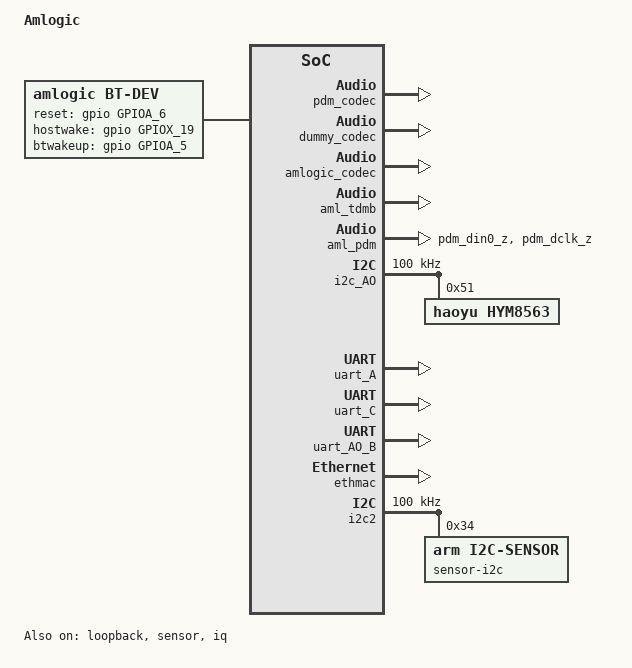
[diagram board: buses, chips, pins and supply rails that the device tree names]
#include "g12b_a311d_w400_drm_buildroot.dts"

//#include "rp-lcd-mipi-5-720-1280-v2-boxTP.dtsi"
// #include "rp-lcd-mipi-5.5-1080-1920.dtsi"
// #include "rp-lcd-mipi-5.5-720-1280.dtsi"
// #include "rp-lcd-mipi-5-720-1280.dtsi"
 #include "rp-lcd-mipi-5-720-1280-v2.dtsi"
// #include "rp-lcd-mipi-7-1024-600.dtsi"
// #include "rp-lcd-mipi-7-1200-1920.dtsi"
// #include "rp-lcd-mipi-8-800-1280.dtsi"
// #include "rp-lcd-mipi-8-800-1280-v3.dtsi"
//#include "rp-lcd-mipi-8-1200-1920-box.dtsi"
// #include "rp-lcd-mipi-10-800-1280.dtsi"
// #include "rp-lcd-mipi-10-800-1280-v3.dtsi"
// #include "rp-lcd-mipi-10-1920-1200.dtsi"
//#include "rp-hdmi-1080p.dtsi"

/ {
    model = "Amlogic";
    amlogic-dt-id = "g12b_w400_b";
    compatible = "pro-a311d";
    rp_power{
        status = "okay";
        compatible = "rp_power";

        // GPIO_FUNCTION_OUTPUT 0
        // GPIO_FUNCTION_INPUT 1
        // GPIO_FUNCTION_IRQ 2
        // GPIO_FUNCTION_FLASH 3
        // GPIO_FUNCTION_OUTPUT_CTRL 4        
        usb_pwr { //usb power
                gpio_num = <&gpio GPIOA_1 GPIO_ACTIVE_HIGH>;
                gpio_function = <4>;
        };
        hub_rst { //hub rst
                gpio_num = <&gpio GPIOA_3 GPIO_ACTIVE_HIGH>;
                gpio_function = <4>;
        };
        spk_on {	//
                gpio_num = <&gpio GPIOA_4 GPIO_ACTIVE_HIGH>;
                gpio_function = <4>;
        };
        fan_en {	//
                gpio_num = <&gpio GPIOZ_11 GPIO_ACTIVE_HIGH>;
                gpio_function = <0>;
        };
        otg_pwr { //otg host power
                gpio_num = <&gpio GPIOZ_9 GPIO_ACTIVE_HIGH>;
                gpio_function = <4>;
        };      
        otg_host {	//
                gpio_num = <&gpio GPIOZ_8 GPIO_ACTIVE_HIGH>; //1:host,0:device
                gpio_function = <4>;
        };
        run_led { // led pin control
                gpio_num = <&gpio_ao GPIOAO_10 GPIO_ACTIVE_HIGH>;
                gpio_function = <3>;
        };
	};

    rp_gpio{
        status = "okay";
        compatible = "rp_gpio";
        //gpio_function:
        //#define GPIO_FUNCTION_OUTPUT 0
        //#define GPIO_FUNCTION_INPUT 1
        //#define GPIO_FUNCTION_IRQ 2
        //#define GPIO_FUNCTION_FLASH 3
        gpioa11 {
            gpio_num = <&gpio GPIOA_11 GPIO_ACTIVE_HIGH>;
            gpio_function = <0>;            //0:output 1:input
        };
        gpioa10 {
            gpio_num = <&gpio GPIOA_10 GPIO_ACTIVE_HIGH>;
            gpio_function = <0>;            //0:output 1:input
        };
        gpioa13 {
            gpio_num = <&gpio GPIOA_13 GPIO_ACTIVE_HIGH>;
            gpio_function = <0>;            //0:output 1:input
        };
        gpioa12 {
            gpio_num = <&gpio GPIOA_12 GPIO_ACTIVE_HIGH>;
            gpio_function = <0>;            //0:output 1:input
        };
        gpioao11 {
            gpio_num = <&gpio_ao GPIOAO_11 GPIO_ACTIVE_HIGH>;
            gpio_function = <0>;            //0:output 1:input
        };
        /*
        gpioz1 {
            gpio_num = <&gpio GPIOZ_1 GPIO_ACTIVE_HIGH>;
            gpio_function = <0>;            //0:output 1:input
        };
        gpioz0 {
            gpio_num = <&gpio GPIOZ_0 GPIO_ACTIVE_HIGH>;
            gpio_function = <0>;            //0:output 1:input
        };
        gpioz13 {
            gpio_num = <&gpio GPIOZ_13 GPIO_ACTIVE_HIGH>;
            gpio_function = <0>;            //0:output 1:input
        };
        */
        gpioz12 {
            gpio_num = <&gpio GPIOZ_12 GPIO_ACTIVE_HIGH>;
            gpio_function = <0>;            //0:output 1:input
        };
        gpioz10 {
            gpio_num = <&gpio GPIOZ_10 GPIO_ACTIVE_HIGH>;
            gpio_function = <0>;            //0:output 1:input
        };
        gpioz7 {
            gpio_num = <&gpio GPIOZ_7 GPIO_ACTIVE_HIGH>;
            gpio_function = <0>;            //0:output 1:input
        };
        gpioz5 {
            gpio_num = <&gpio GPIOZ_5 GPIO_ACTIVE_HIGH>;
            gpio_function = <0>;            //0:output 1:input
        };
        gpioz4 {
            gpio_num = <&gpio GPIOZ_4 GPIO_ACTIVE_HIGH>;
            gpio_function = <0>;            //0:output 1:input
        };
        gpioa0 {
            gpio_num = <&gpio GPIOA_0 GPIO_ACTIVE_HIGH>;
            gpio_function = <0>;            //0:output 1:input
        };
        gpioao5 {
            gpio_num = <&gpio_ao GPIOAO_5 GPIO_ACTIVE_HIGH>;
            gpio_function = <1>;            //0:output 1:input
        };
    };

    stm706 {
        status = "disabled";
        compatible = "stm706";
        // reset_gpio = <&gpio GPIOZ_3 GPIO_ACTIVE_HIGH>;
        // wdt_gpio = <&gpio GPIOZ_2 GPIO_ACTIVE_HIGH>;
    };
    
    gpioleds{
        status = "disabled";
    };
    
    gpio_keypad{
        status = "disabled";
    };
    
    adc_keypad{
        status = "disabled";
    };
    
    bt-dev{
		compatible = "amlogic, bt-dev";
		dev_name = "bt-dev";
		status = "okay";
		gpio_reset = <&gpio GPIOA_6 GPIO_ACTIVE_HIGH>;
		gpio_hostwake = <&gpio GPIOX_19 GPIO_ACTIVE_HIGH>;
        gpio_btwakeup = <&gpio GPIOA_5 GPIO_ACTIVE_HIGH>;
	};
    
    /* Audio Related start */
	pdm_codec:dummy{
		status = "okay";
	};
	dummy_codec:dummy{
		status = "okay";
	};
	amlogic_codec:t9015{
		status = "okay";
	};
	audio_effect:eqdrc{
        status = "okay";
	};
    
    auge_sound {
        /*avout mute gpio*/
        /delete-property/ avout_mute-gpios;
		compatible = "amlogic, g12a-sound-card";
		aml-audio-card,name = "AML-AUGESOUND";
        
		/*for audio effect ,eqdrc */
		aml-audio-card,effect = <&audio_effect>;
        
        //delete for reconfigure
        /delete-node/ aml-audio-card,dai-link@0;
        /delete-node/ aml-audio-card,dai-link@1;
        /delete-node/ aml-audio-card,dai-link@2;
        /delete-node/ aml-audio-card,dai-link@3;
        /delete-node/ aml-audio-card,dai-link@4;
        
        aml-audio-card,dai-link@0 {
            format = "i2s";
			mclk-fs = <256>;
			//continuous-clock;
			//bitclock-inversion;
			//frame-inversion;
			bitclock-master = <&aml_tdmb>;
			frame-master = <&aml_tdmb>;
			/* suffix-name, sync with android audio hal
			 * what's the dai link used for
			 */
			suffix-name = "alsaPORT-i2s";
			cpu {
				sound-dai = <&aml_tdmb>;
				dai-tdm-slot-tx-mask = <1 1>;
				dai-tdm-slot-rx-mask = <1 1>;
				dai-tdm-slot-num = <2>;
				dai-tdm-slot-width = <32>;
				system-clock-frequency = <12288000>;
			};
            tdmbcodec: codec {
				sound-dai = <&dummy_codec &dummy_codec
				&amlogic_codec>;
			};
		};
        
		aml-audio-card,dai-link@1 {
            mclk-fs = <64>;
			/* suffix-name, sync with android audio hal
			 * what's the dai link used for
			 */
			suffix-name = "alsaPORT-pdm";
			cpu {
				sound-dai = <&aml_pdm>;
			};
			codec {
				sound-dai = <&pdm_codec>;
			};
		};      
        
		aml-audio-card,dai-link@6 {
			mclk-fs = <256>;
			continuous-clock;
			suffix-name = "alsaPORT-loopback";
			cpu {
				sound-dai = <&loopback>;
				system-clock-frequency = <12288000>;
			};
			codec {
				sound-dai = <&dummy_codec>;
			};
		};
	};
	audiolocker: locker {
		status = "okay";
	};
	/* Audio Related end */
};


/* audiobus configure*/
&aml_tdma{
    status = "disabled";
};

&aml_tdmb{
    status = "okay";
};

&aml_tdmc{
    status = "disabled";
};

&tdmlb{
    status = "disabled";
};

&aml_spdif{
    status = "disabled";
};
&aml_spdif_b{
    status = "disabled";
};
&aml_pdm{
    compatible = "amlogic, g12a-snd-pdm";
    #sound-dai-cells = <0>;
    pinctrl-names = "pdm_pins";
    pinctrl-0 = <&pdmin_z>;
    filter_mode = <1>; /* mode 0~4, defalut:1 */
    status = "okay";
};

&loopback{
    status = "okay";
};

&audioresample{
    status = "disabled";
};
&aml_pwrdet{
    status = "disabled";
};
/* end of audiobus */ 


/* partition configure */
&partitions{
    parts = <12>;
    part-0 = <&logo>;
    part-1 = <&recovery>;
    part-2 = <&misc>;
    part-3 = <&dto>;
    part-4 = <&cri_data>;
    part-5 = <&param>;
    part-6 = <&boot>;
    part-7 = <&rsv>;
    part-8 = <&tee>;
    part-9 = <&odm>;
    part-10 = <&cache>;
    part-11 = <&system>;

    logo:logo{
        pname = "logo";
        size = <0x0 0x800000>;
        mask = <1>;
    };
    recovery:recovery{
        pname = "recovery";
        size = <0x0 0x1800000>;
        mask = <1>;
    };
    misc:misc{
        pname = "misc";
        size = <0x0 0x800000>;
        mask = <1>;
    };
    dto:dto{
        pname = "dto";
        size = <0x0 0x800000>;
        mask = <1>;
    };
    cri_data:cri_data{
        pname = "cri_data";
        size = <0x0 0x800000>;
        mask = <2>;
    };
    rsv:rsv{
        pname = "rsv";
        size = <0x0 0x1000000>;
        mask = <1>;
    };
    param:param{
        pname = "param";
        size = <0x0 0x1000000>;
        mask = <2>;
    };
    boot:boot{
        pname = "boot";
        size = <0x0 0x1000000>;
        mask = <1>;
    };
    tee:tee{
        pname = "tee";
        size = <0x0 0x2000000>;
        mask = <1>;
    };
    odm:odm{
        pname = "odm";
        size = <0x0 0x10000000>;
        mask = <1>;
    };
    cache:cache{
        pname = "cache";
        size = <0x0 0x46000000>;
        mask = <2>;
    };
    system:system{
        pname = "system";
        size = <0xffffffff 0xffffffff>;
        mask = <1>;
    };
};

&i2c_AO {
    status = "okay";
    pinctrl-names="default";
    pinctrl-0=<&ao_i2c_master_pins1>;
    clock-frequency = <100000>; // default 100k 

    hym8563: hym8563@51 {
        compatible = "haoyu,hym8563";
        reg = <0x51>;
        #clock-cells = <0>;
    };
};


//ttyS1 bt
&uart_A {
    status = "okay";
};

//ttyS3 485
&uart_C {
    status = "okay";
};

//ttyS4 uart1 
&uart_AO_B {
    status = "okay";
};

&ethmac {
       status = "okay";
/*     //conflict with isp i2c
       pinctrl-names = "internal_eth_pins";
       pinctrl-0 = <&internal_eth_pins>;
*/
       mc_val = <0x4be04>;

       internal_phy=<1>;
};


&i2c2 {
	status = "okay";
	pinctrl-names="default";
	pinctrl-0=<&i2c2_master_pins1>;
	clock-frequency = <100000>; /* default 100k */
    /delete-node/ sensor-i2c@6c;
	sensor-i2c@34 {
		compatible = "arm, i2c-sensor";
		reg = <0x34>;
		reg-names = "i2c-sensor";
		slave-addr = <0x34>;
		reg-type = <2>;
		reg-data-type = <1>;
		link-device = <&phycsi>;
	};
};

&sensor{
    compatible = "soc, sensor";
    status = "okay";
    sensor-name = "imx307"; /*imx290;os08a10;imx227*/
    reset = <&gpio GPIOA_12 GPIO_ACTIVE_HIGH>;
    
    /* We don't need the following property */
    /delete-property/ pinctrl-names;
    /delete-property/ pinctrl-0;
    /delete-property/ clocks;
    /delete-property/ clock-names;
    /delete-property/ ir_cut_gpio;
    
    //pinctrl-names="default"; 
    //pinctrl-0=<&clk12_24_z_pins>;
    //clocks = <&clkc CLKID_24M>;
    //clock-names = "g12a_24m";
    //ir_cut_gpio = <&gpio GPIOZ_11 GPIO_ACTIVE_HIGH
    //&gpio GPIOZ_7 GPIO_ACTIVE_HIGH>;
};

&iq{
    compatible = "soc, iq";
    status = "okay";
    sensor-name = "imx307"; /*imx290;os08a10;imx227*/
};

&vdin0{
    status = "disabled";
};

&vdin1{
    status = "disabled";
};

&ad82584f_62{
    status = "disabled";
};

&usb3_phy_v2{
    /* we not need */
    /delete-property/ gpio-vbus-power;
    /delete-property/ gpios;
};

&pinctrl_periphs {
    pdmin_z: pdmin_z {
        mux { /* gpioz_2, gpioz_6 */
            groups =
            "pdm_din0_z",
            "pdm_dclk_z";
            function = "pdm";
        };
    };
};
